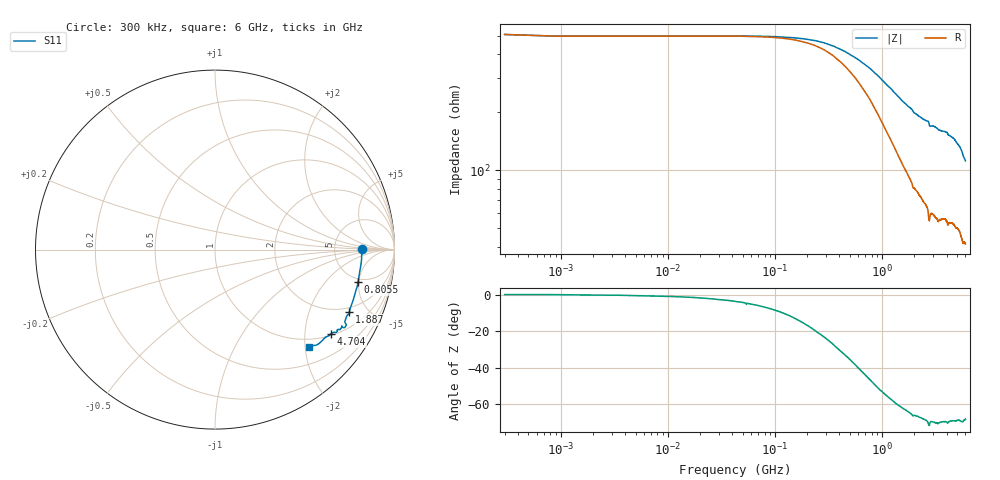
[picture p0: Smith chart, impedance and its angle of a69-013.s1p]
!  3/12/2021  06:29:33
! Ref Plane: 23.990 mm
# MHZ S MA R  50
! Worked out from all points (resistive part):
!   10001 points, 300 kHz to 6 GHz, reference 50 ohm
!   read as one part to ground: R = 497 ohm at 30.3 MHz
!   S11 on the Smith chart (normalised r, x): 300 kHz: 10, +0; 805.5 MHz: 4.46, -4.88; 1.887 GHz: 1.73, -3.78; 4.704 GHz: 1.04, -2.72; 6 GHz: 0.83, -2.08
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0.3  0.8204 0.1
391.4804  0.8168 -6.7
750.2625  0.8169 -12.1
805.4597  0.8168 -12.9
1101.245  0.818 -16.9
1500.225  0.8197 -21.5
1887.206  0.8258 -24.9
1968.202  0.8253 -26.0
2250.188  0.8239 -27.6
2540.573  0.8273 -28.9
2659.967  0.8328 -29.4
2725.364  0.8445 -30.1
2770.361  0.8398 -31.2
2830.358  0.8257 -31.2
3000.15  0.8264 -31.2
3360.132  0.8268 -32.6
3750.113  0.8164 -33.1
3910.905  0.8149 -33.3
4068.097  0.8192 -33.7
4120.294  0.8174 -34.4
4187.491  0.8107 -34.6
4500.075  0.8027 -35.3
4704.065  0.7995 -36.0
5250.038  0.7847 -39.0
5574.621  0.782 -41.7
5698.815  0.7749 -43.4
5776.811  0.766 -44.2
6000  0.7531 -46.0
